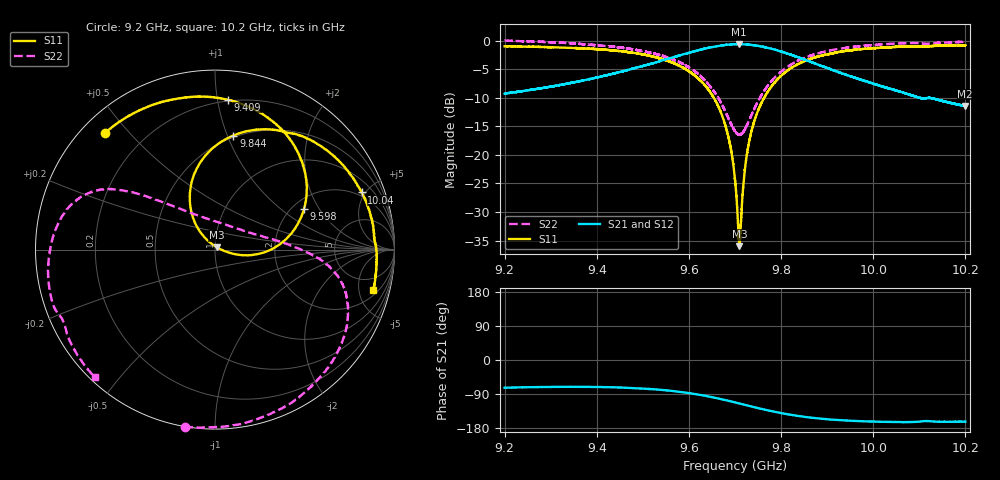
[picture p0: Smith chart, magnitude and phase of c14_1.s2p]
!Agilent Technologies,N5242A,MY51221714,A.09.90.19
!Agilent N5242A: A.09.90.19
!Date: Tuesday, March 26, 2024 15:38:34
!Correction: S11(Full 2 Port(1,2))
!S21(Full 2 Port(1,2))
!S12(Full 2 Port(1,2))
!S22(Full 2 Port(1,2))
!S2P File: Measurements: S11, S21, S12, S22:
# Hz S  dB  R 50
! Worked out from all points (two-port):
!   16001 points, 9.2 GHz to 10.2 GHz, reference 50 ohm
!   highest |S21| = -0.62 dB at 9.709 GHz (marker M1); lowest = -11.5 dB at 10.2 GHz (marker M2)
!   |S21| within 3 dB of the highest: 9.535951 GHz to 9.536169 GHz (217.9 kHz wide, 0.00229 % of centre); 9.536 GHz to 9.861 GHz (324.6 MHz wide, 3.35 % of centre)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
!   lowest |S11| = -36.0 dB at 9.709 GHz (marker M3), VSWR 1.03, Z = 51 + j1.27 ohm
!   |S11| at or under -10 dB: 9.654 GHz to 9.763 GHz (109.3 MHz wide, 1.13 % of centre)
!   |S22| runs from -16.5 to 0.0 dB; largest |S21 - S12| = 0.01
!   S11 on the Smith chart (normalised r, x): 9.2 GHz: 0.07, +0.43; 9.409 GHz: 0.19, +1.07; 9.598 GHz: 2.31, +1.48; 9.844 GHz: 0.48, +1.05; 10.04 GHz: 1.71, +4.73; 10.2 GHz: 2.61, -6.96
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9.2e9  -0.99 133.2  -9.27 -73.3  -9.26 -73.9  0.00 -99.8
9.278812e9  -1.10 116.0  -8.34 -71.4  -8.32 -71.9  -0.20 -78.1
9.366688e9  -1.34 95.6  -7.04 -70.9  -7.03 -71.4  -0.61 -55.1
9.4085e9  -1.53 85.1  -6.30 -71.4  -6.29 -72.0  -0.85 -44.6
9.533375e9  -3.04 48.5  -3.69 -78.1  -3.68 -78.7  -2.43 -16.9
9.598375e9  -5.27 24.5  -2.17 -87.0  -2.15 -87.5  -4.58 -5.4
9.66725e9  -12.17 -5.4  -0.89 -102.5  -0.89 -102.9  -10.53 13.0
9.6875e9  -17.51 -12.3  -0.69 -108.2  -0.69 -108.7  -13.90 29.8
9.7e9  -24.35 -10.6  -0.63 -111.9  -0.64 -112.4  -15.82 50.3
9.7085e9  -35.16 35.1  -0.62 -114.6  -0.62 -115.0  -16.46 69.3
9.709375e9  -35.97 51.3  -0.63 -114.8  -0.62 -115.3  -16.47 71.3
9.712562e9  -32.39 104.0  -0.63 -115.7  -0.62 -116.2  -16.33 78.8
9.726438e9  -19.66 130.3  -0.69 -119.9  -0.68 -120.4  -14.75 106.9
9.747688e9  -12.73 123.3  -0.89 -126.3  -0.88 -126.8  -10.96 128.6
9.786938e9  -7.26 105.5  -1.59 -136.9  -1.60 -137.5  -6.41 141.9
9.844125e9  -3.83 80.9  -3.11 -148.8  -3.12 -149.4  -3.25 150.7
9.866688e9  -3.11 72.3  -3.79 -152.4  -3.79 -152.8  -2.55 153.9
9.934375e9  -1.87 49.7  -5.79 -159.2  -5.79 -159.7  -1.32 165.4
1.003338e10  -1.17 22.6  -8.35 -163.3  -8.35 -163.9  -0.59 -174.2
1.003888e10  -1.14 21.3  -8.47 -163.4  -8.48 -163.9  -0.56 -172.9
1.019981e10  -0.81 -14.3  -11.46 -162.5  -11.45 -163.1  -0.21 -133.4
1.02e10  -0.81 -14.4  -11.46 -162.6  -11.45 -163.0  -0.21 -133.4
